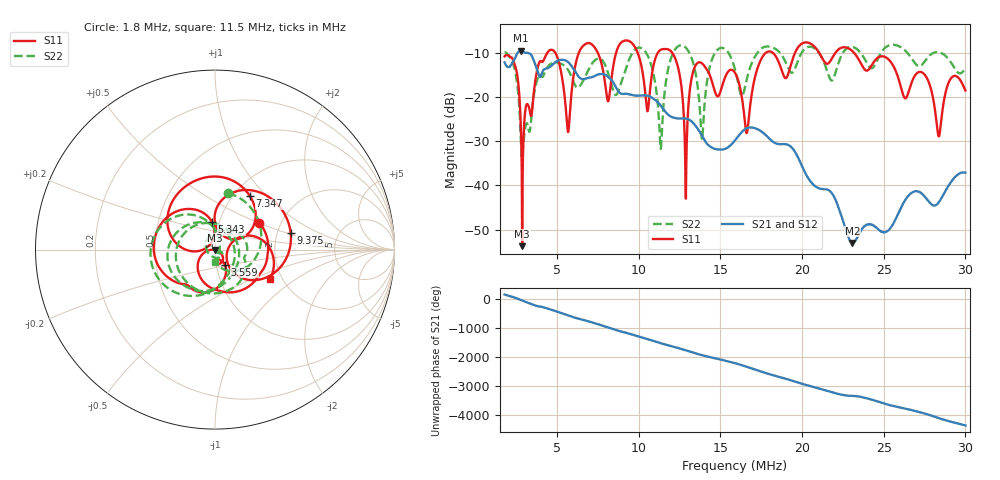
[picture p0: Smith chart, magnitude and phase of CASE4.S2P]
!Agilent Technologies,E5061B,MY49101568,A.02.00
!Date: Wed Mar 01 16:28:43 2023
!Data & Calibration Information:
!Freq	S11:SOLT2(OFF)	S21:SOLT2(OFF)	S12:SOLT2(OFF)	S22:SOLT2(OFF)
# Hz S dB R 50
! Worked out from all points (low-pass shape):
!   1155 points, 1.8 MHz to 30 MHz, reference 50 ohm
!   highest |S21| = -9.52 dB at 2.777 MHz (marker M1); lowest = -53.0 dB at 23.08 MHz (marker M2)
!   |S21| within 3 dB of the highest: 2.236 MHz to 3.663 MHz (1.427 MHz wide, 48.4 % of centre); 4.783 MHz to 5.795 MHz (1.013 MHz wide, 19.1 % of centre)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
!   lowest |S11| = -53.8 dB at 2.875 MHz (marker M3), VSWR 1.00, Z = 49.9 - j0.148 ohm
!   |S11| at or under -10 dB: start of sweep to 4.418 MHz; 12.06 MHz to 17.79 MHz (5.731 MHz wide, 38.4 % of centre); 23.18 MHz to end of sweep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
!   |S22| runs from -33.7 to -8.2 dB; largest |S21 - S12| = 0.0046
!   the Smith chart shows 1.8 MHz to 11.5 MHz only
!   S11 on the Smith chart (normalised r, x): 1.8 MHz: 1.56, +0.50; 3.559 MHz: 1.10, -0.19; 5.343 MHz: 0.92, +0.29; 7.347 MHz: 1.19, +0.81; 9.375 MHz: 2.37, +0.55; 11.5 MHz: 1.73, -0.65
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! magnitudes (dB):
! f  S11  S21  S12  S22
! 1.8 MHz  -10.8  -12.2  -12.1  -9.9
! 2.777 MHz  -25.1  -9.5  -9.5  -28.1
! 2.875 MHz  -53.8  -9.6  -9.6  -33.7
! 3.559 MHz  -20.0  -11.5  -11.5  -20.3
! 5.343 MHz  -16.2  -11.6  -11.5  -12.6
! 5.71 MHz  -27.6  -12.2  -12.2  -14.0
! 6.516 MHz  -8.8  -15.9  -15.9  -16.9
! 7.347 MHz  -9.0  -15.2  -15.1  -11.6
! 8.129 MHz  -21.0  -15.4  -15.4  -14.5
! 9.375 MHz  -7.3  -19.4  -19.3  -12.0
! 10.55 MHz  -23.2  -19.7  -19.8  -10.6
! 11.21 MHz  -9.8  -21.3  -21.4  -23.1
! 11.5 MHz  -9.2  -22.7  -22.7  -22.9
! 12.89 MHz  -43.0  -24.9  -25.0  -8.9
! 13.87 MHz  -12.4  -28.7  -28.7  -29.7
! 15.9 MHz  -14.5  -29.8  -29.9  -13.8
! 16.61 MHz  -28.2  -27.1  -27.1  -16.2
! 20.62 MHz  -8.1  -39.6  -39.5  -8.7
! 23.08 MHz  -9.6  -53.0  -53.0  -8.7
! 25.31 MHz  -11.5  -50.1  -50.1  -8.4
! 28.36 MHz  -28.9  -43.9  -43.8  -9.9
! 30 MHz  -18.5  -37.1  -37.1  -13.5
